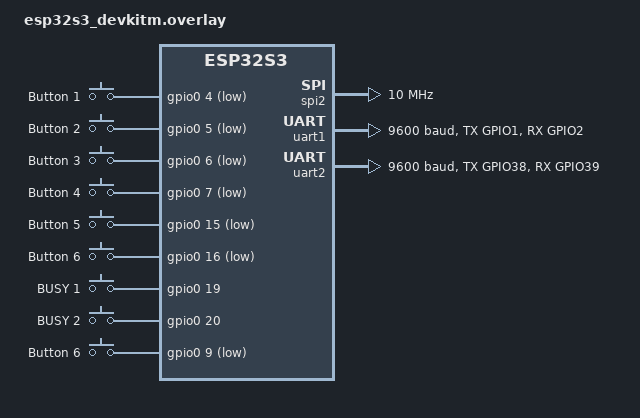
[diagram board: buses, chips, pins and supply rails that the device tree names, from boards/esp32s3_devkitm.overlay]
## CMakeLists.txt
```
# SPDX-License-Identifier: Apache-2.0

cmake_minimum_required(VERSION 3.20.0)

# set(BOARD esp32_devkitc_wroom)
set(BOARD esp32s3_devkitm)

find_package(Zephyr REQUIRED HINTS $ENV{ZEPHYR_BASE})
project(RetroGame)

set(app_sources 
    src/*.cpp
)
FILE(GLOB app_sources src/*.cpp)
target_sources(app PRIVATE ${app_sources})
# target_include_directories(app PRIVATE src)
```

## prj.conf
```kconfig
CONFIG_SERIAL=y
CONFIG_UART_INTERRUPT_DRIVEN=y


# CONFIG_MMU=y
# CONFIG_ESP_SPIRAM

CONFIG_PINCTRL=y

# CONFIG_ADC=y

CONFIG_SPI=y
CONFIG_SPI_BITBANG=y
CONFIG_XOSHIRO_RANDOM_GENERATOR=y
CONFIG_TEST_RANDOM_GENERATOR=y
CONFIG_ENTROPY_GENERATOR=y


CONFIG_CPP=y
# CONFIG_CPP_RTTI=y
# CONFIG_CPLUSPLUS=y
# CONFIG_LIBCPP_IMPLEMENTATION=y
CONFIG_NEWLIB_LIBC=y
CONFIG_REQUIRES_FULL_LIBCPP=y
CONFIG_CPP_EXCEPTIONS=y

CONFIG_SOC_FLASH_ESP32=y
# CONFIG_ADC=y

CONFIG_STDOUT_CONSOLE=y
CONFIG_GPIO=y

CONFIG_FLASH=y
CONFIG_FLASH_PAGE_LAYOUT=y

CONFIG_NVS=y

CONFIG_MPU_ALLOW_FLASH_WRITE=y

CONFIG_NVS=y
CONFIG_LOG=y
CONFIG_LOG_MODE_IMMEDIATE=y


CONFIG_NVS_LOG_LEVEL_DBG=y
CONFIG_REBOOT=y
CONFIG_MPU_ALLOW_FLASH_WRITE=y
```

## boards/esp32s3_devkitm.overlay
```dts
&spi2 {
	status = "okay";
	clock-frequency = <10000000>;
	cs-gpios = <&gpio0 10 GPIO_ACTIVE_LOW>;
	// pinctrl-0 = <SPIM2_MISO_GPIO13>, <SPIM2_SCLK_GPIO12>;
};


&pinctrl {
spim2_default: spim2_default {
	group1 {
		pinmux =
				 <SPIM2_SCLK_GPIO13>,
				 <SPIM2_MOSI_GPIO12>;
	};
};
};

/ {
// zephyr,user {
	// io-channels =
		// <&adc0 0>;
		// <&adc1 0>;
// };
aliases {
	// adc0 = &adc0;
	// adc1 = &adc1;
	joyleft = &button3;
	joyright= &button1;
	joyup   = &button4;
	joydown = &button2;
	start = &button9;
	dash  = &button6;
	shoot = &button5;

};
buttons {																																																																																																																																																															
	compatible = "gpio-keys";
	button1: button_1 { 
		gpios = <&gpio0 4 (GPIO_PULL_UP | GPIO_ACTIVE_LOW)>; //  gpio0, so GPIO19
		label = "Button 1";
		zephyr,code = <0xb>;
	};
	button2: button_2 {
		gpios = <&gpio0 5 (GPIO_PULL_UP | GPIO_ACTIVE_LOW)>;	
		label = "Button 2";
		zephyr,code = <0xb>;
	};
	button3: button_3 {
		gpios = <&gpio0 6 (GPIO_PULL_UP | GPIO_ACTIVE_LOW)>;	
		label = "Button 3";
		zephyr,code = <0xb>;
	};
	button4: button_4 {
	gpios = <&gpio0 7 (GPIO_PULL_UP | GPIO_ACTIVE_LOW)>;	//gpio1, so 15 + 32 = GPIO47
		label = "Button 4";
		zephyr,code = <0xb>;
	};
	button5: button_5 {
		gpios = <&gpio0 15 (GPIO_PULL_UP | GPIO_ACTIVE_LOW)>;	//0
		label = "Button 5";
		zephyr,code = <0xb>;
	};
	button6: button_6 {
		gpios = <&gpio0 16 (GPIO_PULL_UP | GPIO_ACTIVE_LOW)>;	//35
		label = "Button 6";
		zephyr,code = <0xb>;
	};
	button7: button_7 {
		gpios = <&gpio0 19 (GPIO_ACTIVE_HIGH)>;	//19 BUSY
		label = "BUSY 1";
		zephyr,code = <0xb>;
	};
	button8: button_8 {
		gpios = <&gpio0 20 (GPIO_ACTIVE_HIGH)>;	//20 BUSY
		label = "BUSY 2";
		zephyr,code = <0xb>;
	};
	button9: button_9 {
		gpios = <&gpio0 9 (GPIO_PULL_UP | GPIO_ACTIVE_LOW)>;	//35
		label = "Button 6";
		zephyr,code = <0xb>;
	};
};


};



	&uart1 {

		status = "okay";
		current-speed = < 9600 >;
		pinctrl-0 = < &uart1_default >;
		pinctrl-names = "default";
		
	};

	&uart2 {

		status = "okay";
		current-speed = < 9600 >;
		pinctrl-0 = < &uart2_default >;
		pinctrl-names = "default";
	};
	
/ {

check_state {
state_0: state0 {
		gpios = <&gpio0 19 0x11>;	//19
		label = "state 0";
	};
state_1: state1 {
		gpios = <&gpio0 20 0x11>;	//20
		label = "state 1";
	};

};
};

/ {

pinctrl: pin-controller {
	compatible = "espressif,esp32-pinctrl";
	status = "okay";
	// uart0_default: uart0_default {
	// 	phandle = < 0x4 >;
	// 	group1 {
	// 		pinmux = < UART1_TX_GPIO38 >;
	// 		output-high;
	// 	};
	// 	group2 {
	// 		pinmux = < UART1_RX_GPIO39 >;
	// 		bias-pull-up;
	// 	};
	// };
	uart1_default: uart1_default {
		group1 {
			pinmux = < UART1_TX_GPIO1 >;
		};
		group2 {
			pinmux = < UART1_RX_GPIO2 >;
			bias-pull-up;
		};
	};
	uart2_default: uart2_default {
		group1 {
			pinmux = < UART2_TX_GPIO38 >;
		};
		group2 {
			pinmux = < UART2_RX_GPIO39 >;
			bias-pull-up;
		};
	};
};
};
```

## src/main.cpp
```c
//
//
//
#include <zephyr/sys/printk.h>

#include <zephyr/settings/settings.h>
#include <zephyr/devicetree.h>
#include <zephyr/device.h>
#include <zephyr/drivers/gpio.h>
#include <zephyr/drivers/hwinfo.h>
#include <zephyr/sys/byteorder.h>
#include <zephyr/kernel.h>
#include <zephyr/sys/util.h>
#include <zephyr/kernel.h>

#include <string>
// #include "adc.h"
#include "button.h"
#include "fpga.h" //Serial communication with FPGA
#include "game.h"
#include "sprites.h"
#include "scores.h"
#include "flash_esp32.h"
#include "WerewolfMan.h"
#include "globals.h"
#include "level.h"

#define CHECK  DT_NODELABEL(gpio0)
/* GPIO pin configuration */
#define GPIO_PIN 14
	const struct device *const input = DEVICE_DT_GET(CHECK);


std::vector<Fatbat*> fatbats;
std::vector<Platform*> level1;
std::vector<Platform*> level2;
std::vector<Platform*> level3;
std::vector<Bullet*> bullets;
std::vector<WerewolfMan*> werewolfMans;

std::vector<Teleporter*> teleporters;


void loadPlatforms(int levelNum, std::vector<Platform*>* platforms)
{
	for(int i = 0; i < 16; i++) // 16 rows
    {
        for(int j = 0; j < 63; j++) // 63 columns
        {
            if(level[levelNum][i][j] != 0)    // If the tile is not empty
            {
				if(level[levelNum][i][j] == 21)
				{
					// Teleporter
					teleporters.push_back(new Teleporter(j * 31, i * 31));
					continue;
				}
                int tileX = j * 31; //31 is tile width/height
                int tileY = i * 31;
                int tileID = level[levelNum][i][j] + 99;  // Add 99 to the tileID to get the correct sprite
                Platform* platform = new Platform(tileID, tileX, tileY, 15);    // Create a new platform
                platforms->push_back(platform);
            }
        }
    }
}

int main(void)
{
	printk("init");
	uint32_t count = 0;

	initializeCharacters();

	 /* Configure GPIO pin as input */
    
	if (gpio_pin_configure(input, GPIO_PIN, GPIO_INPUT)) {
        printk("Error: Unable to find GPIO device.\n");
        return 0;
    }

	for (int i = 0; i < 40; i++) {
    	Fatbat* fatbat = new Fatbat(360, 0);
    	fatbats.push_back(fatbat);
	}
	
	for (int i = 0; i < 20; i++) {
    	WerewolfMan* werewolfMan = new WerewolfMan(360, 0);
    	werewolfMans.push_back(werewolfMan);
	}

	loadPlatforms(0, &level1);
	loadPlatforms(1, &level2);
	loadPlatforms(2, &level3);

	for(int i=0; i < 20; i++)
	{
		Bullet* bullet = new Bullet(bulletID,7, 400,400,true);
		bullets.push_back(bullet);
	}

	ButtonHandler* button = new ButtonHandler();
	Flash_esp* flash_esp = new Flash_esp();
	FPGA* fpga = new FPGA();
	Audio* audio = new Audio();
	Score* score = new Score(flash_esp);

	Game* game = new Game(fpga, button, audio, score);
	
	int lastState = 1;



	// for(int i = 0; i < 99; i++)
	// {
	// 	game.addEntity(enemy1Sprites);
	// }
	printk("Starting game loop\n");

	
	while (1) {
		
    	
		// printk("\nSTOPPING MUSIC\n");
		// audio.stop(audio.MUSIC);
		// k_sleep(K_MSEC(10000));
		// printk("Uart1: %d\n", audio.music_status());
		// printk("Uart2: %d\n", audio.sfx_status());
		// printk("\nPLAYING MUSIC\n");
		// audio.play_music(audio.MENU_MUSIC);
		// k_sleep(K_MSEC(10000));
		// printk("Uart1: %d\n", audio.music_status());
		// printk("Uart2: %d\n\n\n", audio.sfx_status());

		// continue;
       // Read the state of the GPIO pin 
	//    game->readInput();
        int pin_value = gpio_pin_get(input, GPIO_PIN);
		// int pin_value = button->pinGet(7);
		// printk("Pin value: %d\n", pin_value);
		// // int pin_value = 0;
		// // lastState = 1;
		// // printk("Pin value: %d\n", pin_value);
		if(pin_value == 0 && lastState == 1)
		{
			// uint64_t time = k_cycle_get_64();
			game->update();
			// printk("PLAY AUDIO\n");;
			// audio->play_effect(audio->M_DEATH);
			// audio->play_music(audio->MENU_MUSIC);
			// audio->uart_send({0x7E, 0xFF, 0x06, 0x03, 0x00, 0x00, 0x01, 0xEF}, 1);
			// k_sleep(K_MSEC(1000));
			// uint64_t time2 = k_cycle_get_64();
			// printk("Cycles: %lld\n", time);
		}

		lastState = pin_value;
		
	}
	delete game;
	delete button;
	delete fpga;

	return 0;
}
// class Fatbat2
// {
// 	public:
// 	Fatbat2(int id)
// 	{
// 		this->id = id;
// 	}
// 	void test()
// 	{
// 		rnd = sys_rand32_get();
// 		printk("Random %d: %u\n", id, rnd);

// 	}
// 	private:
// 	uint32_t rnd;
// 	int id;
// };

// int main(void)
// {
//     printk("Random Number Generator Example\n");
// 	Fatbat2 f1(1);
// 	Fatbat2 f2(2);
//     while (1) {
//         // uint32_t random_number = sys_rand32_get();
//         // printk("Random Number: %u\n", random_number);
// 		f1.test();
// 		f2.test();
//         // k_sleep(K_MSEC(1)); // Sleep for 1 second
// 		// k_sleep(K_USEC(100));
//     }
// 	return 0;
// }
```

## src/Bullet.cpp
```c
#include "Bullet.h"
//#include "platform.h"
#include <utility>
#include <zephyr/sys/printk.h>
Bullet::Bullet(const int* entitySprites,int range,int x,int y,bool isFacingRight) : Projectile(entitySprites,range,x,y,isFacingRight){
    xSpeed = 8;
    ySpeed = 0;
    myState = flying;
    damage = 10;
}

void Bullet::behaviour()
{
    if(!isFacingRight && xSpeed > 0)
        xSpeed = xSpeed * -1;
    x = xSpeed + x;
}

bool Bullet::collisionWith(int damage)
{
    xSpeed = 0;
    hit = 1;
    return false;
}

void Bullet::manageAnimation() 
{
    spriteCounter++;
    if(hit)
    {
        myState = dead;
    }
}

void Bullet::setBobMode()
{
    damage = 1000;
   
}
```

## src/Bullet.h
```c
/**
 * @file Bullet.h
 * @author -
 * @brief Contains the Bullet class declaration.
 * @version 0.1
 * @date 2024-04-21
 * 
 * @copyright Copyright (c) 2024
 * 
 */
#pragma once
#include "Projectile.h"

/**
 * @brief The Bullet class represents a bullet projectile.
 * 
 * This class inherits from the Projectile class and provides
 * functionality specific to bullets.
 */
class Bullet : public Projectile {
public:
    /**
     @brief Constructs a Bullet object.
     * 
     * @param entitySprites The array of entity sprites.
     * @param range The range of the bullet.
     * @param x The x-coordinate of the bullet's initial position.
     * @param y The y-coordinate of the bullet's initial position.
     * @param isFacingRight Indicates whether the bullet is facing right.
     */
    Bullet(const int* entitySprites, int range, int x, int y, bool isFacingRight);

    /**
    @brief Defines the behavior of the bullet.
     * 
     * This function is called to update the bullets behavior.
     * It is overridden from the base class Projectile.
     */
    void behaviour() override;

    /**
    @brief Handles collision with another entity.
     * 
     * This function is called when the bullet collides with another entity.
     * It is overridden from the base class Projectile.
     * 
     * @param damage The damage caused by the collision.
     * @return True if the collision resulted in a hit, false otherwise.
     */
    bool collisionWith(int damage) override;

    /**
    @brief Manages the animation of the bullet.
     * 
     * This function is called to update the animation of the bullet.
     * It is overridden from the base class Projectile.
     */
    void manageAnimation() override;

    /**
    @brief Sets the bullet's mode to bobbing.
     * 
     * This function sets the bullet's mode to bob, which raises damage to 1000.
     * It is a friend function of the Player class.
     */
    void setBobMode();

   friend class Player;
};
```

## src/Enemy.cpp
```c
#include "Enemy.h"
#include <zephyr/sys/printk.h>
Enemy::Enemy(const int* entitySprites, int range,int x, int y) : Entity(entitySprites,range,x,y)
{
    damage = 5;
    hp = 50;
    xSpeed = 0;
    myState = idle;
}

bool Enemy::collisionWith(int damage)
{
    hp = hp - damage;
    if(damage){
        hit = true;
    }
    return false;
}

// void Enemy::behaviour() {
//     lastmyState = myState;
//     static int count = 0;
//     if(hp <= 0)
//     {
//         myState = dead;
//     }
//     updateySpeed(gravity); 
//     y = y + ySpeed; 
//     x = x + xSpeed;
   
// }
```

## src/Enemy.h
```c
/**
 * @file Enemy.h
 * @author -
 * @brief Contains the Enemy class declaration.
 * @version 0.1
 * @date 2024-04-21
 * 
 * @copyright Copyright (c) 2024
 * 
 */
#pragma once
#include "entity.h"
#include <zephyr/sys/util.h>

/**
 * @brief The Enemy class represents an enemy entity.
 * 
 * This class inherits from the Entity class and provides
 * functionality specific to enemies.
 */
class Enemy : public Entity{
    public:
        /**
         * @brief Constructs an Enemy object.
         * 
         * @param entitySprites The array of entity sprites.
         * @param range The range of the enemy.
         * @param x The x-coordinate of the enemy.
         * @param y The y-coordinate of the enemy.
         */
        Enemy(const int* entitySprites, int range, int x, int y);

        /**
         * @brief Checks for collision with the enemy.
         * 
         * @param damage The amount of damage caused by the collision.
         * @return True if collision occurs, false otherwise.
         */
        bool collisionWith(int damage);

        /**
         * @brief Gets the type of the enemy.
         * 
         * @return The type of the enemy.
         */
        Type getType() const { return ENEMY; }

    private:
        int hitAnimation; ///< A counter for hitAnimation. 
};
```

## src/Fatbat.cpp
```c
#include "Fatbat.h"
#include <zephyr/sys/printk.h>
#include <zephyr/random/random.h>
#include "cstdlib"

int Fatbat::randomCounter = 0;


Fatbat::Fatbat(int x, int y) : Enemy(fatbatSprites,7,x,y)
{
    for(int i = 0; i < 1000; i++)
    {
        randomNumbers[i] = sys_rand32_get();
    }

    damage = 5;
    hp = 20;
    xSpeed = 0;
    myState = idle;
    isFacingRight = false;
    hitAnimation = 0;
    hit = false;
}

bool Fatbat::collisionWith(int damage)
{
    hp = hp - damage;
    if(damage){
        hit = true;
    }
    return false;
}

void Fatbat::behaviour() {
    randomCounter++;
    lastmyState = myState;
    //Randomly attack
    uint32_t rnd = sys_rand32_get();


    if(rnd % 400 < 7 && myState == idle)
    {
        myState = attacking;
        // printk("rnd: %u\n",rnd % 400);
    }


    if(x < 320.0)
    {
        isFacingRight = true;
    }
    else if(x > 1500.0)
    {
        isFacingRight = false;
    }
    else if(rnd % 1000 == 0)
    {
        isFacingRight = !isFacingRight;
    }

    if(myState == attacking && lastmyState != attacking)
    {
            int rndint = static_cast<int>(rnd);
            ySpeed = static_cast<float>((rndint%3)-12);
            // printk("ySpeed: %d\n",static_cast<int>(ySpeed));
            isGrounded = false;
            xSpeed = isFacingRight ? static_cast<float>((rndint%3)+2) : static_cast<float>((rndint%3)-5);

    }
    else if(myState == idle)
    {
        xSpeed = 0;
    }

    if(isGrounded == true)
    {
        myState = idle;
    }

    updateySpeed(gravity); 
    y = y + ySpeed; 
    x = x + xSpeed;
   
    if(hp <= 0)
    {
        myState = dead;
    }
   
}

void Fatbat::manageAnimation()
{
    spriteCounter+= 1;
    int mirror = 0;
    static int divider = 100;

    if(!isFacingRight)
    {
        mirror = 512;
    }
    if(hitAnimation == 20)
    {
        hit = false;
        hitAnimation = 0;
    }
    if(hit&&spriteCounter % 10 <= 5)
    {
        ID = empty15x15[0];
        hitAnimation++;
    }
    else{
        switch(myState)
        {
            case idle:
                if(spriteCounter % 30 < 15)
                    ID = entitySprites[0]+mirror;
                else
                    ID = entitySprites[1]+mirror;
                if(spriteCounter >= 30)
                    spriteCounter = 0;
            break;
            case attacking:
                ID = entitySprites[2]+mirror;
            break;
        }
    }
}
```

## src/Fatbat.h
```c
/**
 * @file Fatbat.h
 * @author -
 * @brief Contains the Fatbat class declaration.
 * @version 0.1
 * @date 2024-04-21
 * 
 * @copyright Copyright (c) 2024
 * 
 */
#pragma once

#include "Enemy.h"
#include "sprites.h"

/**
 * @brief The Fatbat class represents a specific type of enemy called Fatbat.
 * 
 * This class inherits from the Enemy class and provides additional functionality
 * specific to Fatbat enemies.
 */
class Fatbat : public Enemy
{
public:
    /**
     * @brief Constructs a Fatbat object with the specified coordinates.
     * 
     * @param x The x-coordinate of the Fatbat's position.
     * @param y The y-coordinate of the Fatbat's position.
     */
    Fatbat(int x, int y);

    /**
     * @brief Checks for collision with the Fatbat and applies damage if collided.
     * 
     * @param damage The amount of damage to be applied.
     * @return True if collision occurred, false otherwise.
     */
    bool collisionWith(int damage) override;

    /**
     * @brief Defines the behavior of the Fatbat.
     * 
     * This function is called to determine the actions of the Fatbat.
     */
    void behaviour() override;

    /**
     * @brief Manages the animation of the Fatbat.
     * 
     * This function is responsible for updating the animation state of the Fatbat.
     */
    void manageAnimation() override;
    
private:
    int hitAnimation; ///< counter for hitanimation. 
    uint32_t randomNumbers[1000]; ///< An array of random numbers used by the Fatbat. 
    static int randomCounter; ///< A static counter used by the Fatbat for random number generation. 
};
```

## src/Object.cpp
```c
#include "Object.h"

Object::Object(const int* entitySprites,int range,int x ,int y) : Actor(entitySprites[0],range,x,y), entitySprites(entitySprites), inUse(false){
    this->entitySprites = entitySprites;
    ySpeed = 0;
    xSpeed = 0;
    myState = idle;
    spriteCounter = 0;
    isFacingRight = true;
    hit  = 0;
    lastHit = 0;
}

int Object::getxSpeed()
{
    return static_cast<int>(xSpeed);
}
int Object::getySpeed()
{
    return static_cast<int>(ySpeed);
}

void Object::updateySpeed(float speed){
    ySpeed = ySpeed + speed;
}

void Object::setySpeed(float speed){
    ySpeed = speed;
}

void Object::manageAnimation()
{
    
}

void Object::behaviour()
{
    
}

bool Object::collisionWith(int damage){
    return false;
 }
```

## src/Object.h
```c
/**
 * @file Object.h
 * @brief This file contains the Object class and related data structures 
 * @version 0.1
 * @date 2024-04-21
 * 
 * @copyright Copyright (c) 2024
 * 
 */
#pragma once
#include "actor.h"

/**
 * @brief Enumeration representing the different states of an object.
 */
typedef enum {
    idle,       ///< Object is idle
    walking,    ///< Object is walking
    jumping,    ///< Object is jumping
    attacking,  ///< Object is attacking
    flying,     ///< Object is flying
    hit,        ///< Object is hit
    dead        ///< Object is dead
} state;

/**
 * @brief Class representing an Object, derived from the Actor class.
 */
class Object : public Actor {

public:

    /**
     * @brief Constructor for the Object class.
     * @param entitySprites Pointer to the array of entity sprites.
     * @param range The range of the sprite.
     * @param x The x-coordinate of the object.
     * @param y The y-coordinate of the object.
     */
    Object(const int* entitySprites, int range, int x, int y);

    /**
     * @brief Get the x-speed of the object.
     * @return The x-speed of the object.
     */
    int getxSpeed();

    /**
     * @brief Get the y-speed of the object.
     * @return The y-speed of the object.
     */
    int getySpeed();

    /**
     * @brief Update the y-speed of the object.
     * @param speed The new y-speed of the object.
     */
    void updateySpeed(float speed);

    /**
     * @brief Set the y-speed of the object.
     * @param speed The new y-speed of the object.
     */
    void setySpeed(float speed);

    /**
     * @brief Manage the animation of the object.
     */
    virtual void manageAnimation();

    /**
     * @brief Pure virtual function representing the behavior of the object.
     */
    virtual void behaviour() = 0;

    /**
     * @brief Get the state of the object.
     * @return The state of the object.
     */
    state getState() const { return myState; }

    /**
     * @brief Get the type of the object.
     * @return The type of the object.
     */
    Type getType() const { return OBJECT; }

    /**
     * @brief Do certain action when object has collision.
     * @param damage The damage to be applied.
     * @return True if collision occurred, false otherwise.
     */
    virtual bool collisionWith(int damage);

    friend class Game;

protected:
    float ySpeed;               ///< The y-speed of the object.
    float xSpeed;               ///< The x-speed of the object.
    const int* entitySprites;   ///< Pointer to the array of entity sprites.
    state myState;              ///< The state of the object.
    state lastmyState;          ///< The last state of the object.
    int spriteCounter;          ///< The sprite counter of the object.
    bool isFacingRight;         ///< Flag indicating if the object is facing right.
    bool hasGravity;            ///< Flag indicating if the object has gravity.
    bool hasCollision;          ///< Flag indicating if the object has collision.
    bool isGrounded;            ///< Flag indicating if the object is grounded.
    bool hit;                   ///< Flag indicating if the object is hit.
    bool lastHit;               ///< Flag indicating if the object was hit previously.
    int damage;                 ///< The damage of the object.
    int damageDone;             ///< The damage done by the object.
protected:
    bool inUse;                 ///< Flag indicating if the object is in use.
};
```

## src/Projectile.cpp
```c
#include "Projectile.h"

Projectile::Projectile(const int* entitySprites,int range,int x,int y,bool isFacingRight,void* heapPtr) : Object(entitySprites,range,x,y,heapPtr){
    if(isFacingRight)
    xSpeed = 1;
    else
    xSpeed = -1;
    hasCollision = 0;
    hasGravity = 0;
}
```

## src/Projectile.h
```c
/**
 * @file Projectile.h
 * @brief This file contains the Projectile class and related data structures 
 * @version 0.1
 * @date 2024-04-21
 * 
 * @copyright Copyright (c) 2024
 * 
 */
#pragma once

#include "Object.h"

/**
 * @brief The Projectile class represents a projectile object in the game.
 * 
 * This class inherits from the Object class and provides additional functionality
 * specific to projectiles.
 */
class Projectile : public Object {

public:
    /**
     * @brief Constructs a Projectile object.
     * 
     * @param entitySprites The array of entity sprites for the projectile.
     * @param range The range of the projectile.
     * @param x The x-coordinate of the projectile's initial position.
     * @param y The y-coordinate of the projectile's initial position.
     * @param isFacingRight Indicates whether the projectile is facing right.
     */
    Projectile(const int* entitySprites, int range, int x, int y, bool isFacingRight);

    /**
     * @brief Checks if the object is a projectile.
     * 
     * @return True if the object is a projectile, false otherwise.
     */
    bool isProjectile() const override { return true; }

    /**
     * @brief Gets the type of the object.
     * 
     * @return The type of the object (PROJECTILE).
     */
    Type getType() const override { return PROJECTILE; }
};
```

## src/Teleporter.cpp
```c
#include "Teleporter.h"
#include "level.h"

Teleporter::Teleporter(int x, int y) : Object(teleporterSprites, 15, x, y)
{
    ID = teleporterSprites[0];
}

void Teleporter::behaviour()
{

}

void Teleporter::manageAnimation()
{
    static int spriteCounter = 0;
    spriteCounter++;
    if(spriteCounter % 30 < 15)
        ID = entitySprites[0];
    else
        ID = entitySprites[1];
    if(spriteCounter >= 30)
        spriteCounter = 0;
}

bool Teleporter::collisionWith(int damage)
{
    return false;
}
```

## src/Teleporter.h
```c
/**
 * @file Teleporter.h
 * @brief This file contains the Teleporter class and related data structures. (NOTE: The teleporter is purely a visual element in the game, the player cannot interact with it)
 * @version 0.1
 * @date 2024-04-21
 * 
 * @copyright Copyright (c) 2024
 * 
 */
#pragma once

#include "Object.h"

/**
 * @brief The Teleporter class represents a teleporter object in the game.
 * 
 * It inherits from the Object class and provides specific behavior and animation management for teleporters.
 */
class Teleporter : public Object {
public:
    /**
     * @brief Constructs a Teleporter object with the specified coordinates.
     * 
     * @param x The x-coordinate of the teleporter.
     * @param y The y-coordinate of the teleporter.
     */
    Teleporter(int x, int y);

    /**
     * @brief Defines the behavior of the teleporter.
     * 
     * This function is called to update the state of the teleporter in the game.
     */
    void behaviour() override;

    /**
     * @brief Manages the animation of the teleporter.
     * 
     * This function is called to update the animation of the teleporter in the game.
     */
    void manageAnimation() override;

    /**
     * @brief Handles collision with the teleporter.
     * 
     * This function is called when another object collides with the teleporter.
     * 
     * @param damage The damage caused by the collision.
     * @return true if the collision was successful, false otherwise.
     */
    bool collisionWith(int damage) override;
};
```
